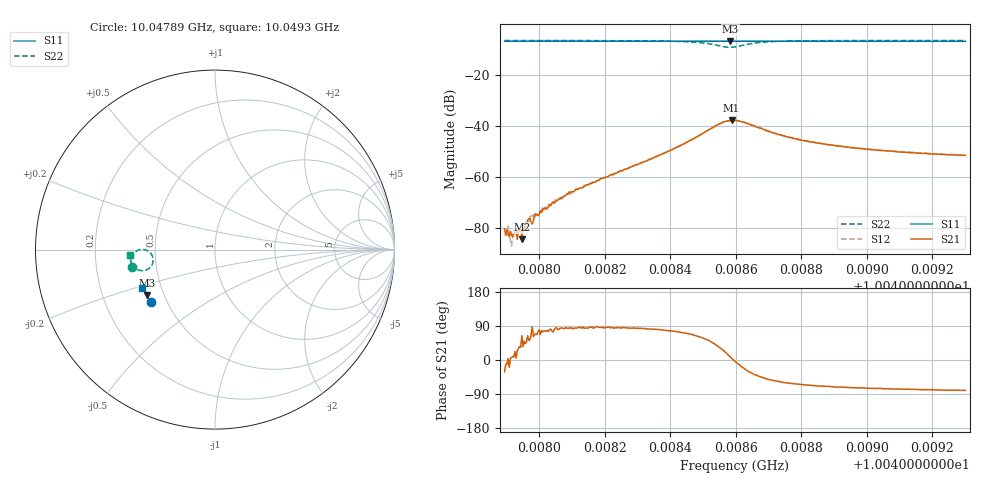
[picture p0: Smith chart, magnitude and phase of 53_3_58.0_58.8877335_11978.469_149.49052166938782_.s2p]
#  HZ  S  RI  R  50.00
! Rohde & Schwarz Vector Network Analyzer
! Rohde-Schwarz,ZNB20-2Port,1311601062101988,3.16
! Created: UTC 3/21/2024, 12:52:41 AM
! freq[Hz]  re:S11  im:S11  re:S21  im:S21  re:S12  im:S12  re:S22  im:S22
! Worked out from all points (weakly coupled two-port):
!   401 points, 10.04789 GHz to 10.0493 GHz, reference 50 ohm
!   highest |S21| = -37.64 dB at 10.04859 GHz (marker M1); lowest = -84.3 dB at 10.04795 GHz (marker M2)
!   lowest |S11| = -6.8 dB at 10.04858 GHz (marker M3), VSWR 2.68, Z = 20.1 - j12.8 ohm
!   |S11| at or under -10 dB: nowhere
!   |S22| runs from -9.1 to -6.5 dB; largest |S21 - S12| = 0.001
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1.0047894e10  -0.3561 -0.2906  8.41e-05 -5.04e-05  7.27e-05 2.69e-06  -0.465 -0.0953
1.0047947e10  -0.3582 -0.2876  2.68e-05 5.46e-05  4.48e-05 7.11e-05  -0.4657 -0.0911
1.0047961e10  -0.3588 -0.2869  8.07e-05 8.95e-05  6.12e-05 0.000105  -0.4657 -0.0898
1.0047965e10  -0.3591 -0.2867  6.28e-05 0.000129  5.79e-05 7.66e-05  -0.4659 -0.0894
1.0047979e10  -0.3595 -0.2861  4.05e-06 0.000123  4.13e-05 0.000177  -0.4658 -0.0883
1.0047993e10  -0.3601 -0.2852  7.13e-05 0.000169  4.9e-05 0.000181  -0.466 -0.0868
1.0048017e10  -0.3611 -0.284  5.6e-05 0.00024  7.91e-05 0.000244  -0.4663 -0.0847
1.0048091e10  -0.3641 -0.2798  5.69e-05 0.000516  3.73e-05 0.00048  -0.4668 -0.0774
1.004813e10  -0.3655 -0.2779  6.48e-05 0.000609  1.21e-05 0.00064  -0.4669 -0.0736
1.0048366e10  -0.3744 -0.2648  0.000464 0.00264  0.000323 0.00271  -0.4618 -0.0395
1.0048436e10  -0.377 -0.2606  0.00131 0.00412  0.00108 0.00422  -0.4518 -0.0219
1.0048527e10  -0.3798 -0.2552  0.00634 0.00671  0.00595 0.00705  -0.3995 0.00128
1.0048563e10  -0.3805 -0.2533  0.0109 0.00512  0.0106 0.00565  -0.3589 -0.0197
1.0048584e10  -0.3808 -0.2525  0.0126 0.00186  0.0127 0.00266  -0.3451 -0.0516
1.0048587e10  -0.3811 -0.2523  0.0131 0.00107  0.0129 0.00204  -0.3446 -0.0577
1.0048598e10  -0.3814 -0.2518  0.0129 -0.000794  0.013 0.000181  -0.3472 -0.0754
1.0048636e10  -0.383 -0.2502  0.0099 -0.00548  0.0103 -0.00475  -0.3841 -0.1143
1.0048686e10  -0.385 -0.2478  0.00589 -0.00625  0.00624 -0.00596  -0.4256 -0.1143
1.0048753e10  -0.3877 -0.2439  0.00314 -0.00545  0.00354 -0.00529  -0.4503 -0.0976
1.0048833e10  -0.3905 -0.2392  0.00191 -0.0045  0.0022 -0.00441  -0.4616 -0.0811
1.0049069e10  -0.3982 -0.2254  0.000783 -0.00317  0.000973 -0.00313  -0.4712 -0.0509
1.0049301e10  -0.4051 -0.2118  0.000449 -0.00264  0.000622 -0.00265  -0.4737 -0.0301
